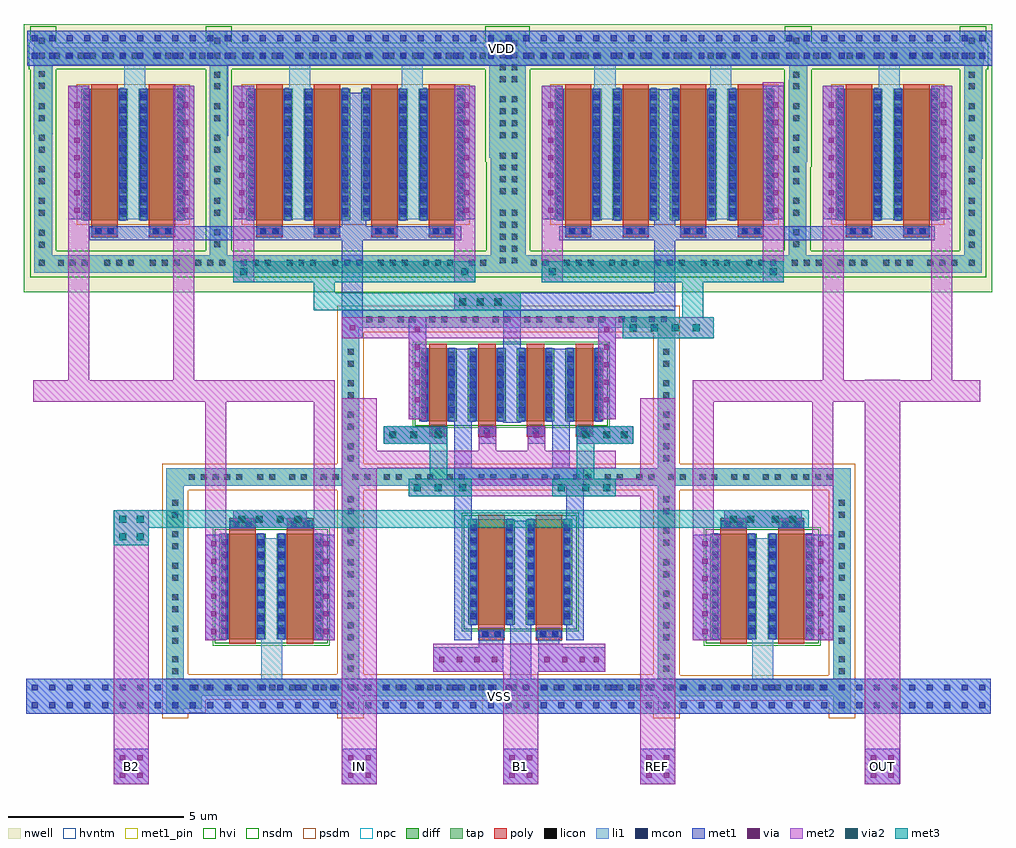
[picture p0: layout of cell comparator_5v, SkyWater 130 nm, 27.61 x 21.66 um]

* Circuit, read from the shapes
.subckt comparator_5v B1 B2 IN OUT REF VDD VSS
XM1 VSS B2 n1 VSS sky130_fd_pr__nfet_g5v0d10v5 w=3 l=0.75 m=2
XM2 n2 REF n3 VSS sky130_fd_pr__nfet_g5v0d10v5 w=2.08 l=0.5 m=2
XM3 n4 IN n2 VSS sky130_fd_pr__nfet_g5v0d10v5 w=2.08 l=0.5 m=2
XM4 VSS B1 n2 VSS sky130_fd_pr__nfet_g5v0d10v5 w=3 l=0.75 m=2
XM5 VSS B2 OUT VSS sky130_fd_pr__nfet_g5v0d10v5 w=3 l=0.75 m=2
XM6 VDD n3 n1 VDD sky130_fd_pr__pfet_g5v0d10v5 w=3.75 l=0.75 m=2
XM7 VDD n3 n4 VDD sky130_fd_pr__pfet_g5v0d10v5 w=3.75 l=0.75 m=2
XM8 n3 n3 VDD VDD sky130_fd_pr__pfet_g5v0d10v5 w=3.75 l=0.75 m=2
XM9 VDD n4 n3 VDD sky130_fd_pr__pfet_g5v0d10v5 w=3.75 l=0.75 m=2
XM10 n4 n4 VDD VDD sky130_fd_pr__pfet_g5v0d10v5 w=3.75 l=0.75 m=2
XM11 VDD n4 OUT VDD sky130_fd_pr__pfet_g5v0d10v5 w=3.75 l=0.75 m=2
.ends

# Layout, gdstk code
import gdstk
lib = gdstk.Library(unit=1e-6, precision=1e-09)
def R(c, l, rs):  # rectangles x0, y0, x1, y1
    for r in rs: c.add(gdstk.rectangle(r[:2], r[2:], *l))
def A(c, l, x, y, w, h, nx, ny, dx, dy):  # array of equal rectangles
    R(c, l, [(x+i*dx, y+j*dy, x+i*dx+w, y+j*dy+h) for i in range(nx) for j in range(ny)])
nwell = (64, 20)
diff = (65, 20)
tap = (65, 44)
poly = (66, 20)
licon = (66, 44)
li1 = (67, 20)
mcon = (67, 44)
met1_pin = (68, 16)
met1 = (68, 20)
via = (68, 44)
met2 = (69, 20)
via2 = (69, 44)
met3 = (70, 20)
hvi = (75, 20)
nsdm = (93, 44)
psdm = (94, 20)
npc = (95, 20)
hvntm = (125, 20)

sky130_fd_pr__nfet_g5v0d = lib.new_cell('sky130_fd_pr__nfet_g5v0d10v5_3ZGXMS')
R(sky130_fd_pr__nfet_g5v0d, diff, [(-1.485,-1.345,-0.155,1.655), (0.155,-1.345,1.485,1.655)])
R(sky130_fd_pr__nfet_g5v0d, poly, [(-1.195,-1.785,-0.445,1.785), (0.445,-1.785,1.195,1.785)])
A(sky130_fd_pr__nfet_g5v0d, licon, -1.425, -1.12, 0.17, 0.17, 1, 8, 0, 0.34)
A(sky130_fd_pr__nfet_g5v0d, licon, -0.385, -1.12, 0.17, 0.17, 1, 8, 0, 0.34)
A(sky130_fd_pr__nfet_g5v0d, licon, 0.215, -1.12, 0.17, 0.17, 1, 8, 0, 0.34)
A(sky130_fd_pr__nfet_g5v0d, licon, 1.255, -1.12, 0.17, 0.17, 1, 8, 0, 0.34)
R(sky130_fd_pr__nfet_g5v0d, licon, [(-1.075,-1.705,-0.905,-1.535), (-0.735,-1.705,-0.565,-1.535), (0.565,-1.705,0.735,-1.535), (0.905,-1.705,1.075,-1.535)])
R(sky130_fd_pr__nfet_g5v0d, li1, [(-1.195,-1.705,-0.445,-1.535), (0.445,-1.705,1.195,-1.535), (-1.425,-1.365,-1.255,1.675), (-0.385,-1.365,-0.215,1.675), (0.215,-1.365,0.385,1.675), (1.255,-1.365,1.425,1.675)])
A(sky130_fd_pr__nfet_g5v0d, mcon, -1.425, -1.19, 0.17, 0.17, 1, 8, 0, 0.36)
A(sky130_fd_pr__nfet_g5v0d, mcon, -0.385, -1.19, 0.17, 0.17, 1, 8, 0, 0.36)
A(sky130_fd_pr__nfet_g5v0d, mcon, 0.215, -1.19, 0.17, 0.17, 1, 8, 0, 0.36)
A(sky130_fd_pr__nfet_g5v0d, mcon, 1.255, -1.19, 0.17, 0.17, 1, 8, 0, 0.36)
R(sky130_fd_pr__nfet_g5v0d, mcon, [(-1.085,-1.705,-0.915,-1.535), (-0.725,-1.705,-0.555,-1.535), (0.555,-1.705,0.725,-1.535), (0.915,-1.705,1.085,-1.535)])
R(sky130_fd_pr__nfet_g5v0d, met1, [(-1.175,-1.735,-0.465,-1.505), (0.465,-1.735,1.175,-1.505), (-1.455,-1.345,-1.225,1.655), (-0.415,-1.345,-0.185,1.655), (0.185,-1.345,0.415,1.655), (1.225,-1.345,1.455,1.655)])
R(sky130_fd_pr__nfet_g5v0d, hvi, [(-1.67,-1.53,1.67,1.84)])
R(sky130_fd_pr__nfet_g5v0d, nsdm, [(-1.61,-1.47,1.61,1.78)])
R(sky130_fd_pr__nfet_g5v0d, npc, [(-1.175,-1.805,-0.465,-1.435), (0.465,-1.805,1.175,-1.435)])
R(sky130_fd_pr__nfet_g5v0d, hvntm, [(-1.67,-1.53,1.67,1.84)])

c_sky130_fd_pr__nfet_g5v0d = lib.new_cell('sky130_fd_pr__nfet_g5v0d10v5_P5847U')
A(c_sky130_fd_pr__nfet_g5v0d, diff, -2.625, -0.885, 1.08, 2.08, 4, 1, 1.39, 0)
A(c_sky130_fd_pr__nfet_g5v0d, poly, -2.335, -1.325, 0.5, 2.65, 4, 1, 1.39, 0)
A(c_sky130_fd_pr__nfet_g5v0d, licon, -2.17, -1.245, 0.17, 0.17, 4, 1, 1.39, 0)
A(c_sky130_fd_pr__nfet_g5v0d, licon, -2.565, -0.78, 0.17, 0.17, 1, 6, 0, 0.34)
A(c_sky130_fd_pr__nfet_g5v0d, licon, -1.775, -0.78, 0.17, 0.17, 1, 6, 0, 0.34)
A(c_sky130_fd_pr__nfet_g5v0d, licon, -1.175, -0.78, 0.17, 0.17, 1, 6, 0, 0.34)
A(c_sky130_fd_pr__nfet_g5v0d, licon, -0.385, -0.78, 0.17, 0.17, 1, 6, 0, 0.34)
A(c_sky130_fd_pr__nfet_g5v0d, licon, 0.215, -0.78, 0.17, 0.17, 1, 6, 0, 0.34)
A(c_sky130_fd_pr__nfet_g5v0d, licon, 1.005, -0.78, 0.17, 0.17, 1, 6, 0, 0.34)
A(c_sky130_fd_pr__nfet_g5v0d, licon, 1.605, -0.78, 0.17, 0.17, 1, 6, 0, 0.34)
A(c_sky130_fd_pr__nfet_g5v0d, licon, 2.395, -0.78, 0.17, 0.17, 1, 6, 0, 0.34)
A(c_sky130_fd_pr__nfet_g5v0d, li1, -2.335, -1.245, 0.5, 0.17, 4, 1, 1.39, 0)
R(c_sky130_fd_pr__nfet_g5v0d, li1, [(-2.565,-0.905,-2.395,1.215), (-1.775,-0.905,-1.605,1.215), (-1.175,-0.905,-1.005,1.215), (-0.385,-0.905,-0.215,1.215), (0.215,-0.905,0.385,1.215), (1.005,-0.905,1.175,1.215), (1.605,-0.905,1.775,1.215), (2.395,-0.905,2.565,1.215)])
A(c_sky130_fd_pr__nfet_g5v0d, mcon, -2.17, -1.245, 0.17, 0.17, 4, 1, 1.39, 0)
A(c_sky130_fd_pr__nfet_g5v0d, mcon, -2.565, -0.65, 0.17, 0.17, 1, 5, 0, 0.36)
A(c_sky130_fd_pr__nfet_g5v0d, mcon, -1.775, -0.65, 0.17, 0.17, 1, 5, 0, 0.36)
A(c_sky130_fd_pr__nfet_g5v0d, mcon, -1.175, -0.65, 0.17, 0.17, 1, 5, 0, 0.36)
A(c_sky130_fd_pr__nfet_g5v0d, mcon, -0.385, -0.65, 0.17, 0.17, 1, 5, 0, 0.36)
A(c_sky130_fd_pr__nfet_g5v0d, mcon, 0.215, -0.65, 0.17, 0.17, 1, 5, 0, 0.36)
A(c_sky130_fd_pr__nfet_g5v0d, mcon, 1.005, -0.65, 0.17, 0.17, 1, 5, 0, 0.36)
A(c_sky130_fd_pr__nfet_g5v0d, mcon, 1.605, -0.65, 0.17, 0.17, 1, 5, 0, 0.36)
A(c_sky130_fd_pr__nfet_g5v0d, mcon, 2.395, -0.65, 0.17, 0.17, 1, 5, 0, 0.36)
A(c_sky130_fd_pr__nfet_g5v0d, met1, -2.315, -1.275, 0.46, 0.23, 4, 1, 1.39, 0)
R(c_sky130_fd_pr__nfet_g5v0d, met1, [(-2.595,-0.885,-2.365,1.195), (-1.805,-0.885,-1.575,1.195), (-1.205,-0.885,-0.975,1.195), (-0.415,-0.885,-0.185,1.195), (0.185,-0.885,0.415,1.195), (0.975,-0.885,1.205,1.195), (1.575,-0.885,1.805,1.195), (2.365,-0.885,2.595,1.195)])
R(c_sky130_fd_pr__nfet_g5v0d, hvi, [(-2.81,-1.07,2.81,1.38)])
R(c_sky130_fd_pr__nfet_g5v0d, nsdm, [(-2.75,-1.01,2.75,1.32)])
A(c_sky130_fd_pr__nfet_g5v0d, npc, -2.27, -1.345, 0.37, 0.37, 4, 1, 1.39, 0)
R(c_sky130_fd_pr__nfet_g5v0d, hvntm, [(-2.81,-1.07,2.81,1.38)])

sky130_fd_pr__pfet_g5v0d = lib.new_cell('sky130_fd_pr__pfet_g5v0d10v5_SXU6V5')
R(sky130_fd_pr__pfet_g5v0d, nwell, [(-1.665,-2.195,1.665,2.365)])
R(sky130_fd_pr__pfet_g5v0d, diff, [(-1.485,-1.695,-0.155,2.055), (0.155,-1.695,1.485,2.055)])
R(sky130_fd_pr__pfet_g5v0d, poly, [(-1.195,-2.18,-0.445,2.185), (0.445,-2.18,1.195,2.185)])
A(sky130_fd_pr__pfet_g5v0d, licon, -1.425, -1.605, 0.17, 0.17, 1, 11, 0, 0.34)
A(sky130_fd_pr__pfet_g5v0d, licon, -0.385, -1.605, 0.17, 0.17, 1, 11, 0, 0.34)
A(sky130_fd_pr__pfet_g5v0d, licon, 0.215, -1.605, 0.17, 0.17, 1, 11, 0, 0.34)
A(sky130_fd_pr__pfet_g5v0d, licon, 1.255, -1.605, 0.17, 0.17, 1, 11, 0, 0.34)
R(sky130_fd_pr__pfet_g5v0d, licon, [(-1.075,-2.1,-0.905,-1.93), (-0.735,-2.1,-0.565,-1.93), (0.565,-2.1,0.735,-1.93), (0.905,-2.1,1.075,-1.93)])
R(sky130_fd_pr__pfet_g5v0d, li1, [(-1.195,-2.1,-0.445,-1.93), (0.445,-2.1,1.195,-1.93), (-1.425,-1.715,-1.255,2.075), (-0.385,-1.715,-0.215,2.075), (0.215,-1.715,0.385,2.075), (1.255,-1.715,1.425,2.075)])
A(sky130_fd_pr__pfet_g5v0d, mcon, -1.425, -1.525, 0.17, 0.17, 1, 10, 0, 0.36)
A(sky130_fd_pr__pfet_g5v0d, mcon, -0.385, -1.525, 0.17, 0.17, 1, 10, 0, 0.36)
A(sky130_fd_pr__pfet_g5v0d, mcon, 0.215, -1.525, 0.17, 0.17, 1, 10, 0, 0.36)
A(sky130_fd_pr__pfet_g5v0d, mcon, 1.255, -1.525, 0.17, 0.17, 1, 10, 0, 0.36)
R(sky130_fd_pr__pfet_g5v0d, mcon, [(-1.085,-2.1,-0.915,-1.93), (-0.725,-2.1,-0.555,-1.93), (0.555,-2.1,0.725,-1.93), (0.915,-2.1,1.085,-1.93)])
R(sky130_fd_pr__pfet_g5v0d, met1, [(-1.175,-2.13,-0.465,-1.9), (0.465,-2.13,1.175,-1.9), (-1.455,-1.695,-1.225,2.055), (-0.415,-1.695,-0.185,2.055), (0.185,-1.695,0.415,2.055), (1.225,-1.695,1.455,2.055)])
R(sky130_fd_pr__pfet_g5v0d, hvi, [(-1.665,-2.195,1.665,-1.88), (-1.67,-1.88,1.67,2.24), (-1.665,2.24,1.665,2.365)])
R(sky130_fd_pr__pfet_g5v0d, psdm, [(-1.61,-1.82,1.61,2.18)])
R(sky130_fd_pr__pfet_g5v0d, npc, [(-1.175,-2.2,-0.465,-1.83), (0.465,-2.2,1.175,-1.83)])

c_sky130_fd_pr__pfet_g5v0d = lib.new_cell('sky130_fd_pr__pfet_g5v0d10v5_S3L597')
R(c_sky130_fd_pr__pfet_g5v0d, nwell, [(-3.305,-2.195,3.305,2.365)])
A(c_sky130_fd_pr__pfet_g5v0d, diff, -3.125, -1.695, 1.33, 3.75, 4, 1, 1.64, 0)
A(c_sky130_fd_pr__pfet_g5v0d, poly, -2.835, -2.18, 0.75, 4.365, 4, 1, 1.64, 0)
A(c_sky130_fd_pr__pfet_g5v0d, licon, -3.065, -1.605, 0.17, 0.17, 1, 11, 0, 0.34)
A(c_sky130_fd_pr__pfet_g5v0d, licon, -2.025, -1.605, 0.17, 0.17, 1, 11, 0, 0.34)
A(c_sky130_fd_pr__pfet_g5v0d, licon, -1.425, -1.605, 0.17, 0.17, 1, 11, 0, 0.34)
A(c_sky130_fd_pr__pfet_g5v0d, licon, -0.385, -1.605, 0.17, 0.17, 1, 11, 0, 0.34)
A(c_sky130_fd_pr__pfet_g5v0d, licon, 0.215, -1.605, 0.17, 0.17, 1, 11, 0, 0.34)
A(c_sky130_fd_pr__pfet_g5v0d, licon, 1.255, -1.605, 0.17, 0.17, 1, 11, 0, 0.34)
A(c_sky130_fd_pr__pfet_g5v0d, licon, 1.855, -1.605, 0.17, 0.17, 1, 11, 0, 0.34)
A(c_sky130_fd_pr__pfet_g5v0d, licon, 2.895, -1.605, 0.17, 0.17, 1, 11, 0, 0.34)
R(c_sky130_fd_pr__pfet_g5v0d, licon, [(-2.715,-2.1,-2.545,-1.93), (-2.375,-2.1,-2.205,-1.93), (-1.075,-2.1,-0.905,-1.93), (-0.735,-2.1,-0.565,-1.93), (0.565,-2.1,0.735,-1.93), (0.905,-2.1,1.075,-1.93), (2.205,-2.1,2.375,-1.93), (2.545,-2.1,2.715,-1.93)])
A(c_sky130_fd_pr__pfet_g5v0d, li1, -2.835, -2.1, 0.75, 0.17, 4, 1, 1.64, 0)
R(c_sky130_fd_pr__pfet_g5v0d, li1, [(-3.065,-1.715,-2.895,2.075), (-2.025,-1.715,-1.855,2.075), (-1.425,-1.715,-1.255,2.075), (-0.385,-1.715,-0.215,2.075), (0.215,-1.715,0.385,2.075), (1.255,-1.715,1.425,2.075), (1.855,-1.715,2.025,2.075), (2.895,-1.715,3.065,2.075)])
A(c_sky130_fd_pr__pfet_g5v0d, mcon, -3.065, -1.525, 0.17, 0.17, 1, 10, 0, 0.36)
A(c_sky130_fd_pr__pfet_g5v0d, mcon, -2.025, -1.525, 0.17, 0.17, 1, 10, 0, 0.36)
A(c_sky130_fd_pr__pfet_g5v0d, mcon, -1.425, -1.525, 0.17, 0.17, 1, 10, 0, 0.36)
A(c_sky130_fd_pr__pfet_g5v0d, mcon, -0.385, -1.525, 0.17, 0.17, 1, 10, 0, 0.36)
A(c_sky130_fd_pr__pfet_g5v0d, mcon, 0.215, -1.525, 0.17, 0.17, 1, 10, 0, 0.36)
A(c_sky130_fd_pr__pfet_g5v0d, mcon, 1.255, -1.525, 0.17, 0.17, 1, 10, 0, 0.36)
A(c_sky130_fd_pr__pfet_g5v0d, mcon, 1.855, -1.525, 0.17, 0.17, 1, 10, 0, 0.36)
A(c_sky130_fd_pr__pfet_g5v0d, mcon, 2.895, -1.525, 0.17, 0.17, 1, 10, 0, 0.36)
R(c_sky130_fd_pr__pfet_g5v0d, mcon, [(-2.725,-2.1,-2.555,-1.93), (-2.365,-2.1,-2.195,-1.93), (-1.085,-2.1,-0.915,-1.93), (-0.725,-2.1,-0.555,-1.93), (0.555,-2.1,0.725,-1.93), (0.915,-2.1,1.085,-1.93), (2.195,-2.1,2.365,-1.93), (2.555,-2.1,2.725,-1.93)])
A(c_sky130_fd_pr__pfet_g5v0d, met1, -2.815, -2.13, 0.71, 0.23, 4, 1, 1.64, 0)
R(c_sky130_fd_pr__pfet_g5v0d, met1, [(-3.095,-1.695,-2.865,2.055), (-2.055,-1.695,-1.825,2.055), (-1.455,-1.695,-1.225,2.055), (-0.415,-1.695,-0.185,2.055), (0.185,-1.695,0.415,2.055), (1.225,-1.695,1.455,2.055), (1.825,-1.695,2.055,2.055), (2.865,-1.695,3.095,2.055)])
R(c_sky130_fd_pr__pfet_g5v0d, hvi, [(-3.305,-2.195,3.305,-1.88), (-3.31,-1.88,3.31,2.24), (-3.305,2.24,3.305,2.365)])
R(c_sky130_fd_pr__pfet_g5v0d, psdm, [(-3.25,-1.82,3.25,2.18)])
A(c_sky130_fd_pr__pfet_g5v0d, npc, -2.815, -2.2, 0.71, 0.37, 4, 1, 1.64, 0)

c_sky130_fd_pr__nfet_g5v0d_ = lib.new_cell('sky130_fd_pr__nfet_g5v0d10v5_KHGXMS')
R(c_sky130_fd_pr__nfet_g5v0d_, diff, [(-1.485,-1.655,-0.155,1.345), (0.155,-1.655,1.485,1.345)])
R(c_sky130_fd_pr__nfet_g5v0d_, poly, [(-1.195,-1.785,-0.445,1.785), (0.445,-1.785,1.195,1.785)])
A(c_sky130_fd_pr__nfet_g5v0d_, licon, -1.425, -1.43, 0.17, 0.17, 1, 8, 0, 0.34)
A(c_sky130_fd_pr__nfet_g5v0d_, licon, -0.385, -1.43, 0.17, 0.17, 1, 8, 0, 0.34)
A(c_sky130_fd_pr__nfet_g5v0d_, licon, 0.215, -1.43, 0.17, 0.17, 1, 8, 0, 0.34)
A(c_sky130_fd_pr__nfet_g5v0d_, licon, 1.255, -1.43, 0.17, 0.17, 1, 8, 0, 0.34)
R(c_sky130_fd_pr__nfet_g5v0d_, licon, [(-1.075,1.535,-0.905,1.705), (-0.735,1.535,-0.565,1.705), (0.565,1.535,0.735,1.705), (0.905,1.535,1.075,1.705)])
R(c_sky130_fd_pr__nfet_g5v0d_, li1, [(-1.425,-1.675,-1.255,1.365), (-0.385,-1.675,-0.215,1.365), (0.215,-1.675,0.385,1.365), (1.255,-1.675,1.425,1.365), (-1.195,1.535,-0.445,1.705), (0.445,1.535,1.195,1.705)])
A(c_sky130_fd_pr__nfet_g5v0d_, mcon, -1.425, -1.5, 0.17, 0.17, 1, 8, 0, 0.36)
A(c_sky130_fd_pr__nfet_g5v0d_, mcon, -0.385, -1.5, 0.17, 0.17, 1, 8, 0, 0.36)
A(c_sky130_fd_pr__nfet_g5v0d_, mcon, 0.215, -1.5, 0.17, 0.17, 1, 8, 0, 0.36)
A(c_sky130_fd_pr__nfet_g5v0d_, mcon, 1.255, -1.5, 0.17, 0.17, 1, 8, 0, 0.36)
R(c_sky130_fd_pr__nfet_g5v0d_, mcon, [(-1.085,1.535,-0.915,1.705), (-0.725,1.535,-0.555,1.705), (0.555,1.535,0.725,1.705), (0.915,1.535,1.085,1.705)])
R(c_sky130_fd_pr__nfet_g5v0d_, met1, [(-1.455,-1.655,-1.225,1.345), (-0.415,-1.655,-0.185,1.345), (0.185,-1.655,0.415,1.345), (1.225,-1.655,1.455,1.345), (-1.175,1.505,-0.465,1.735), (0.465,1.505,1.175,1.735)])
R(c_sky130_fd_pr__nfet_g5v0d_, hvi, [(-1.67,-1.84,1.67,1.53)])
R(c_sky130_fd_pr__nfet_g5v0d_, nsdm, [(-1.61,-1.78,1.61,1.47)])
R(c_sky130_fd_pr__nfet_g5v0d_, npc, [(-1.175,1.435,-0.465,1.805), (0.465,1.435,1.175,1.805)])
R(c_sky130_fd_pr__nfet_g5v0d_, hvntm, [(-1.67,-1.84,1.67,1.53)])

comparator_5v = lib.new_cell('comparator_5v')
R(comparator_5v, nwell, [(-22.57,-27.99,5.03,-20.34)])
R(comparator_5v, tap, [(-18.5,-40,-18,-39.85), (-13.5,-40,-13,-39.5), (-4.5,-40,-4,-39.5), (0.5,-40,1,-39.5), (-18.5,-39.85,-17.5,-39.48), (-13.5,-39.5,1,-39.48), (-18.5,-39.48,1,-39.02), (-18.5,-39.02,-4,-39), (0.5,-39.02,1,-33.5), (-18.5,-39,-18,-33.5), (-13.5,-39,-13,-33.5), (-4.5,-39,-4,-33.5), (-18.5,-33.5,1,-33), (-13.5,-33,-13,-29), (-4.5,-33,-4,-29), (-13.5,-29,-4,-28.5), (-22.26,-27.43,4.74,-26.93), (-22.26,-26.93,-21.76,-21.5), (-17.26,-26.93,-16.76,-21.5), (-9.26,-26.93,-8.26,-24.145), (-0.76,-26.93,-0.26,-24.285), (4.24,-26.93,4.74,-21.5), (-0.76,-24.285,-0.235,-21.93), (-9.295,-24.145,-8.26,-21.93), (-9.295,-21.93,-8.265,-21.5), (-0.755,-21.93,-0.235,-21.5), (-22.3,-21.5,4.8,-21), (-22.26,-21,-21.76,-20.53), (-17.26,-21,-16.76,-20.53), (-9.295,-21,-8.265,-20.53), (-0.755,-21,-0.235,-20.53), (4.24,-21,4.74,-20.53)])
A(comparator_5v, licon, -0.56, -39.335, 0.17, 0.17, 3, 1, 0.34, 0)
A(comparator_5v, licon, -17.865, -33.335, 0.17, 0.17, 5, 1, 0.34, 0)
A(comparator_5v, licon, -0.695, -33.335, 0.17, 0.17, 4, 1, 0.34, 0)
A(comparator_5v, licon, -21.59, -27.235, 0.17, 0.17, 3, 1, 0.34, 0)
A(comparator_5v, licon, -20.275, -27.235, 0.17, 0.17, 3, 1, 0.34, 0)
A(comparator_5v, licon, -18.975, -27.235, 0.17, 0.17, 3, 1, 0.34, 0)
A(comparator_5v, licon, -17.675, -27.235, 0.17, 0.17, 3, 1, 0.34, 0)
A(comparator_5v, licon, -16.375, -27.235, 0.17, 0.17, 3, 1, 0.34, 0)
A(comparator_5v, licon, -15.075, -27.235, 0.17, 0.17, 3, 1, 0.34, 0)
A(comparator_5v, licon, -13.775, -27.235, 0.17, 0.17, 3, 1, 0.34, 0)
A(comparator_5v, licon, -12.475, -27.235, 0.17, 0.17, 3, 1, 0.34, 0)
A(comparator_5v, licon, -11.175, -27.235, 0.17, 0.17, 3, 1, 0.34, 0)
A(comparator_5v, licon, -7.175, -27.235, 0.17, 0.17, 3, 1, 0.34, 0)
A(comparator_5v, licon, -5.875, -27.235, 0.17, 0.17, 3, 1, 0.34, 0)
A(comparator_5v, licon, -4.575, -27.235, 0.17, 0.17, 3, 1, 0.34, 0)
A(comparator_5v, licon, -3.275, -27.235, 0.17, 0.17, 3, 1, 0.34, 0)
A(comparator_5v, licon, -1.975, -27.235, 0.17, 0.17, 3, 1, 0.34, 0)
A(comparator_5v, licon, -0.675, -27.235, 0.17, 0.17, 3, 1, 0.34, 0)
A(comparator_5v, licon, 0.625, -27.235, 0.17, 0.17, 3, 1, 0.34, 0)
A(comparator_5v, licon, 1.925, -27.235, 0.17, 0.17, 3, 1, 0.34, 0)
A(comparator_5v, licon, 3.19, -27.235, 0.17, 0.17, 3, 1, 0.34, 0)
A(comparator_5v, licon, -9.005, -27.165, 0.17, 0.17, 1, 5, 0, 0.34)
A(comparator_5v, licon, -8.665, -27.165, 0.17, 0.17, 1, 5, 0, 0.34)
A(comparator_5v, licon, -9.005, -25.195, 0.17, 0.17, 1, 4, 0, 0.34)
A(comparator_5v, licon, -8.665, -25.195, 0.17, 0.17, 1, 4, 0, 0.34)
A(comparator_5v, licon, -9.005, -23.595, 0.17, 0.17, 1, 4, 0, 0.34)
A(comparator_5v, licon, -8.665, -23.595, 0.17, 0.17, 1, 4, 0, 0.34)
A(comparator_5v, licon, -9.005, -21.995, 0.17, 0.17, 1, 4, 0, 0.34)
A(comparator_5v, licon, -8.665, -21.995, 0.17, 0.17, 1, 4, 0, 0.34)
A(comparator_5v, licon, -21.71, -21.335, 0.17, 0.17, 4, 1, 0.34, 0)
A(comparator_5v, licon, -20.175, -21.335, 0.17, 0.17, 3, 1, 0.34, 0)
A(comparator_5v, licon, -18.875, -21.335, 0.17, 0.17, 3, 1, 0.34, 0)
A(comparator_5v, licon, -17.57, -21.335, 0.17, 0.17, 3, 1, 0.435, 0)
A(comparator_5v, licon, -16.175, -21.335, 0.17, 0.17, 3, 1, 0.34, 0)
A(comparator_5v, licon, -14.775, -21.335, 0.17, 0.17, 3, 1, 0.34, 0)
A(comparator_5v, licon, -13.475, -21.335, 0.17, 0.17, 3, 1, 0.34, 0)
A(comparator_5v, licon, -12.175, -21.335, 0.17, 0.17, 3, 1, 0.34, 0)
A(comparator_5v, licon, -10.875, -21.335, 0.17, 0.17, 3, 1, 0.34, 0)
A(comparator_5v, licon, -8.19, -21.335, 0.17, 0.17, 3, 1, 0.34, 0)
A(comparator_5v, licon, -6.975, -21.335, 0.17, 0.17, 3, 1, 0.34, 0)
A(comparator_5v, licon, -5.675, -21.335, 0.17, 0.17, 3, 1, 0.34, 0)
A(comparator_5v, licon, -4.375, -21.335, 0.17, 0.17, 3, 1, 0.34, 0)
A(comparator_5v, licon, -3.075, -21.335, 0.17, 0.17, 3, 1, 0.34, 0)
A(comparator_5v, licon, -1.2, -21.335, 0.17, 0.17, 3, 1, 0.565, 0)
R(comparator_5v, licon, [(-18.335,-39.335,-18.165,-39.165), (-17.77,-39.335,-17.6,-39.165), (-17.43,-39.335,-17.26,-39.165), (-16.805,-39.335,-16.635,-39.165), (-16.465,-39.335,-16.295,-39.165), (-15.905,-39.335,-15.735,-39.165), (-15.565,-39.335,-15.395,-39.165), (-15.005,-39.335,-14.835,-39.165), (-14.665,-39.335,-14.495,-39.165), (-14.105,-39.335,-13.935,-39.165), (-13.765,-39.335,-13.595,-39.165), (-13.205,-39.335,-13.035,-39.165), (-12.865,-39.335,-12.695,-39.165), (-12.305,-39.335,-12.135,-39.165), (-11.965,-39.335,-11.795,-39.165), (-11.405,-39.335,-11.235,-39.165), (-11.065,-39.335,-10.895,-39.165), (-10.505,-39.335,-10.335,-39.165), (-10.165,-39.335,-9.995,-39.165), (-9.605,-39.335,-9.435,-39.165), (-9.265,-39.335,-9.095,-39.165), (-8.705,-39.335,-8.535,-39.165), (-8.365,-39.335,-8.195,-39.165), (-7.805,-39.335,-7.635,-39.165), (-7.465,-39.335,-7.295,-39.165), (-6.905,-39.335,-6.735,-39.165), (-6.565,-39.335,-6.395,-39.165), (-6.005,-39.335,-5.835,-39.165), (-5.665,-39.335,-5.495,-39.165), (-5.105,-39.335,-4.935,-39.165), (-4.765,-39.335,-4.595,-39.165), (-4.205,-39.335,-4.035,-39.165), (-3.865,-39.335,-3.695,-39.165), (-3.305,-39.335,-3.135,-39.165), (-2.965,-39.335,-2.795,-39.165), (-2.405,-39.335,-2.235,-39.165), (-2.065,-39.335,-1.895,-39.165), (-1.505,-39.335,-1.335,-39.165), (-1.165,-39.335,-0.995,-39.165), (0.665,-39.335,0.835,-39.165), (-18.335,-38.87,-18.165,-38.7), (0.665,-38.87,0.835,-38.7), (-13.335,-38.805,-13.165,-38.635), (-4.335,-38.805,-4.165,-38.635), (-18.335,-38.53,-18.165,-38.36), (0.665,-38.53,0.835,-38.36), (-13.335,-38.465,-13.165,-38.295), (-4.335,-38.465,-4.165,-38.295), (-18.335,-38.005,-18.165,-37.835), (0.665,-38.005,0.835,-37.835), (-13.335,-37.905,-13.165,-37.735), (-4.335,-37.905,-4.165,-37.735), (-18.335,-37.665,-18.165,-37.495), (0.665,-37.665,0.835,-37.495), (-13.335,-37.565,-13.165,-37.395), (-4.335,-37.565,-4.165,-37.395), (-18.335,-37.105,-18.165,-36.935), (0.665,-37.105,0.835,-36.935), (-13.335,-37.005,-13.165,-36.835), (-4.335,-37.005,-4.165,-36.835), (-18.335,-36.765,-18.165,-36.595), (0.665,-36.765,0.835,-36.595), (-13.335,-36.665,-13.165,-36.495), (-4.335,-36.665,-4.165,-36.495), (-18.335,-36.205,-18.165,-36.035), (0.665,-36.205,0.835,-36.035), (-13.335,-36.105,-13.165,-35.935), (-4.335,-36.105,-4.165,-35.935), (-18.335,-35.865,-18.165,-35.695), (0.665,-35.865,0.835,-35.695), (-13.335,-35.765,-13.165,-35.595), (-4.335,-35.765,-4.165,-35.595), (-18.335,-35.305,-18.165,-35.135), (0.665,-35.305,0.835,-35.135), (-13.335,-35.205,-13.165,-35.035), (-4.335,-35.205,-4.165,-35.035), (-18.335,-34.965,-18.165,-34.795), (0.665,-34.965,0.835,-34.795), (-13.335,-34.865,-13.165,-34.695), (-4.335,-34.865,-4.165,-34.695), (-18.335,-34.405,-18.165,-34.235), (0.665,-34.405,0.835,-34.235), (-13.335,-34.305,-13.165,-34.135), (-4.335,-34.305,-4.165,-34.135), (-18.335,-34.065,-18.165,-33.895), (0.665,-34.065,0.835,-33.895), (-13.335,-33.965,-13.165,-33.795), (-4.335,-33.965,-4.165,-33.795), (-15.905,-33.335,-15.735,-33.165), (-15.565,-33.335,-15.395,-33.165), (-15.005,-33.335,-14.835,-33.165), (-14.665,-33.335,-14.495,-33.165), (-14.105,-33.335,-13.935,-33.165), (-13.765,-33.335,-13.595,-33.165), (-13.205,-33.335,-13.035,-33.165), (-12.865,-33.335,-12.695,-33.165), (-12.305,-33.335,-12.135,-33.165), (-11.965,-33.335,-11.795,-33.165), (-11.405,-33.335,-11.235,-33.165), (-11.065,-33.335,-10.895,-33.165), (-10.505,-33.335,-10.335,-33.165), (-10.165,-33.335,-9.995,-33.165), (-9.605,-33.335,-9.435,-33.165), (-9.265,-33.335,-9.095,-33.165), (-8.705,-33.335,-8.535,-33.165), (-8.365,-33.335,-8.195,-33.165), (-7.805,-33.335,-7.635,-33.165), (-7.465,-33.335,-7.295,-33.165), (-6.905,-33.335,-6.735,-33.165), (-6.565,-33.335,-6.395,-33.165), (-6.005,-33.335,-5.835,-33.165), (-5.665,-33.335,-5.495,-33.165), (-5.105,-33.335,-4.935,-33.165), (-4.765,-33.335,-4.595,-33.165), (-4.205,-33.335,-4.035,-33.165), (-3.865,-33.335,-3.695,-33.165), (-3.305,-33.335,-3.135,-33.165), (-2.965,-33.335,-2.795,-33.165), (-2.405,-33.335,-2.235,-33.165), (-2.065,-33.335,-1.895,-33.165), (-1.505,-33.335,-1.335,-33.165), (-1.165,-33.335,-0.995,-33.165), (-13.335,-32.805,-13.165,-32.635), (-4.335,-32.805,-4.165,-32.635), (-13.335,-32.465,-13.165,-32.295), (-4.335,-32.465,-4.165,-32.295), (-13.335,-31.905,-13.165,-31.735), (-4.335,-31.905,-4.165,-31.735), (-13.335,-31.565,-13.165,-31.395), (-4.335,-31.565,-4.165,-31.395), (-13.335,-31.005,-13.165,-30.835), (-4.335,-31.005,-4.165,-30.835), (-13.335,-30.665,-13.165,-30.495), (-4.335,-30.665,-4.165,-30.495), (-13.335,-30.105,-13.165,-29.935), (-4.335,-30.105,-4.165,-29.935), (-13.335,-29.765,-13.165,-29.595), (-4.335,-29.765,-4.165,-29.595), (-12.805,-28.835,-12.635,-28.665), (-12.465,-28.835,-12.295,-28.665), (-11.905,-28.835,-11.735,-28.665), (-11.565,-28.835,-11.395,-28.665), (-11.005,-28.835,-10.835,-28.665), (-10.665,-28.835,-10.495,-28.665), (-10.105,-28.835,-9.935,-28.665), (-9.765,-28.835,-9.595,-28.665), (-9.205,-28.835,-9.035,-28.665), (-8.865,-28.835,-8.695,-28.665), (-8.305,-28.835,-8.135,-28.665), (-7.965,-28.835,-7.795,-28.665), (-7.405,-28.835,-7.235,-28.665), (-7.065,-28.835,-6.895,-28.665), (-6.505,-28.835,-6.335,-28.665), (-6.165,-28.835,-5.995,-28.665), (-5.605,-28.835,-5.435,-28.665), (-5.265,-28.835,-5.095,-28.665), (-4.755,-28.835,-4.585,-28.665), (-4.415,-28.835,-4.245,-28.665), (-22.135,-27.235,-21.965,-27.065), (-9.89,-27.235,-9.72,-27.065), (-9.55,-27.235,-9.38,-27.065), (-8.12,-27.235,-7.95,-27.065), (-7.78,-27.235,-7.61,-27.065), (4.365,-27.235,4.535,-27.065), (-22.135,-26.72,-21.965,-26.55), (4.365,-26.72,4.535,-26.55), (-17.135,-26.705,-16.965,-26.535), (-0.635,-26.705,-0.465,-26.535), (-22.135,-26.38,-21.965,-26.21), (4.365,-26.38,4.535,-26.21), (-17.135,-26.365,-16.965,-26.195), (-0.635,-26.365,-0.465,-26.195), (-22.135,-25.805,-21.965,-25.635), (-17.135,-25.805,-16.965,-25.635), (-0.635,-25.805,-0.465,-25.635), (4.365,-25.805,4.535,-25.635), (-22.135,-25.465,-21.965,-25.295), (-17.135,-25.465,-16.965,-25.295), (-0.635,-25.465,-0.465,-25.295), (4.365,-25.465,4.535,-25.295), (-22.135,-24.905,-21.965,-24.735), (-17.135,-24.905,-16.965,-24.735), (-0.635,-24.905,-0.465,-24.735), (4.365,-24.905,4.535,-24.735), (-22.135,-24.565,-21.965,-24.395), (-17.135,-24.565,-16.965,-24.395), (-0.635,-24.565,-0.465,-24.395), (4.365,-24.565,4.535,-24.395), (-22.135,-24.005,-21.965,-23.835), (-17.135,-24.005,-16.965,-23.835), (-0.635,-24.005,-0.465,-23.835), (4.365,-24.005,4.535,-23.835), (-22.135,-23.665,-21.965,-23.495), (-17.135,-23.665,-16.965,-23.495), (-0.635,-23.665,-0.465,-23.495), (4.365,-23.665,4.535,-23.495), (-22.135,-23.105,-21.965,-22.935), (-17.135,-23.105,-16.965,-22.935), (-0.635,-23.105,-0.465,-22.935), (4.365,-23.105,4.535,-22.935), (-22.135,-22.765,-21.965,-22.595), (-17.135,-22.765,-16.965,-22.595), (-0.635,-22.765,-0.465,-22.595), (4.365,-22.765,4.535,-22.595), (-17.135,-22.205,-16.965,-22.035), (-0.635,-22.205,-0.465,-22.035), (4.365,-22.205,4.535,-22.035), (-22.135,-22.19,-21.965,-22.02), (-17.135,-21.865,-16.965,-21.695), (-0.635,-21.865,-0.465,-21.695), (4.365,-21.865,4.535,-21.695), (-22.135,-21.85,-21.965,-21.68), (-22.135,-21.335,-21.965,-21.165), (-9.57,-21.335,-9.4,-21.165), (-1.54,-21.335,-1.37,-21.165), (0.27,-21.335,0.44,-21.165), (0.895,-21.335,1.065,-21.165), (1.235,-21.335,1.405,-21.165), (1.795,-21.335,1.965,-21.165), (2.135,-21.335,2.305,-21.165), (2.695,-21.335,2.865,-21.165), (3.035,-21.335,3.205,-21.165), (3.56,-21.335,3.73,-21.165), (3.9,-21.335,4.07,-21.165), (4.365,-21.335,4.535,-21.165), (-22.135,-20.9,-21.965,-20.73), (-17.135,-20.9,-16.965,-20.73), (-0.635,-20.9,-0.465,-20.73), (4.365,-20.9,4.535,-20.73)])
R(comparator_5v, li1, [(-22.5,-40,5,-39), (-18.5,-39,-18,-33.5), (-15.8,-39,-15.2,-35), (-13.5,-39,-13,-33.5), (-4.5,-39,-4,-33.5), (-1.8,-39,-1.2,-35), (0.5,-39,1,-33.5), (-18.5,-33.5,1,-33), (-13.5,-33,-13,-29), (-4.5,-33,-4,-29), (-13.5,-29,-4,-28.5), (-22.26,-27.43,4.74,-26.93), (-22.26,-26.93,-21.76,-23.48), (-17.26,-26.93,-16.76,-23.535), (-9.26,-26.93,-8.26,-24.145), (-0.76,-26.93,-0.26,-24.285), (4.24,-26.93,4.74,-24.175), (-19.7,-25.9,-19.1,-21.53), (-15,-25.9,-14.4,-21.53), (-11.8,-25.9,-11.2,-21.53), (-6.3,-25.9,-5.7,-21.53), (-3,-25.9,-2.4,-21.53), (1.8,-25.9,2.4,-21.53), (-0.76,-24.285,-0.235,-21.93), (4.24,-24.175,4.76,-21.53), (-9.295,-24.145,-8.26,-21.93), (-17.27,-23.535,-16.74,-21.53), (-22.275,-23.48,-21.745,-21.53), (-9.295,-21.93,-8.265,-21.53), (-0.755,-21.93,-0.235,-21.53), (-22.46,-21.53,5.04,-20.53)])
A(comparator_5v, mcon, -22.335, -39.835, 0.17, 0.17, 55, 2, 0.5, 0.5)
A(comparator_5v, mcon, -22.335, -21.335, 0.17, 0.17, 55, 2, 0.5, 0.5)
R(comparator_5v, met1_pin, [(-20,-42,-19,-41), (-13.5,-42,-12.5,-41), (-8.9,-42,-7.9,-41), (-5,-42,-4,-41), (1.4,-42,2.4,-41), (-9.5,-40,-8.5,-39), (-9.46,-21.53,-8.46,-20.53)])
R(comparator_5v, met1, [(-20,-42,-19,-41), (-13.5,-42,-12.5,-41), (-8.9,-42,-7.9,-41), (-5,-42,-4,-41), (1.4,-42,2.4,-41), (-22.5,-40,5,-39), (-8.7,-39,-8.1,-34.5), (-10.9,-38.8,-8.9,-38.1), (-7.9,-38.8,-6,-38.1), (-9.6,-38.1,-8.9,-37.6), (-7.9,-38.1,-7.2,-38), (-7.9,-38,-7.3,-37.6), (-17.4,-37.9,-16.8,-34.9), (-14.3,-37.9,-13.7,-34.9), (-10.3,-37.9,-9.8,-33.5), (-7.1,-37.9,-6.6,-33.5), (-3.5,-37.9,-2.7,-34.9), (-0.3,-37.9,0.5,-34.9), (-16.6,-34.7,-14.5,-34.2), (-2.6,-34.7,-0.4,-34.2), (-10.3,-33.5,-6.6,-33), (-10.3,-33,-9.8,-29.6), (-7.5,-33,-7,-29.6), (-12.3,-32.3,-10.5,-31.8), (-9.6,-32.3,-9.1,-31.8), (-8.2,-32.3,-7.7,-31.8), (-6.8,-32.3,-5.2,-31.8), (-8.9,-31.7,-8.4,-28.5), (-11.6,-31.6,-11.1,-28.7), (-6.2,-31.6,-5.7,-28.7), (-13.5,-29.3,-12.9,-26.5), (-10.3,-28.5,-4,-28), (-4.6,-28,-4,-26.5), (-20.7,-26.5,-10.1,-26.1), (-7.3,-26.5,3.4,-26.1), (-13.5,-26.1,-12.8,-23.8), (-4.6,-26.1,-4,-22.2), (-21.3,-25.9,-20.7,-22.1), (-18.3,-25.9,-17.7,-22.1), (-16.6,-25.9,-16,-22.1), (-10.3,-25.9,-9.7,-22.1), (-7.8,-25.9,-7.2,-22.1), (-1.5,-25.9,-0.9,-22.1), (0.2,-25.9,0.8,-22.1), (3.3,-25.9,3.9,-22.1), (-13.4,-23.8,-12.8,-22.3), (-22.46,-21.53,5.04,-20.53)])
A(comparator_5v, via, -10.725, -38.525, 0.15, 0.15, 4, 1, 0.5, 0)
A(comparator_5v, via, -7.725, -38.525, 0.15, 0.15, 3, 1, 0.5, 0)
A(comparator_5v, via, -17.225, -37.725, 0.15, 0.15, 1, 6, 0, 0.5)
A(comparator_5v, via, -14.025, -37.725, 0.15, 0.15, 1, 6, 0, 0.5)
A(comparator_5v, via, -3.225, -37.725, 0.15, 0.15, 1, 6, 0, 0.5)
A(comparator_5v, via, 0.075, -37.725, 0.15, 0.15, 1, 6, 0, 0.5)
A(comparator_5v, via, -10.825, -32.125, 0.15, 0.15, 4, 1, 1.4, 0)
A(comparator_5v, via, -11.425, -31.125, 0.15, 0.15, 1, 5, 0, 0.5)
A(comparator_5v, via, -6.025, -31.125, 0.15, 0.15, 1, 5, 0, 0.5)
A(comparator_5v, via, -10.125, -28.325, 0.15, 0.15, 3, 1, 0.5, 0)
A(comparator_5v, via, -21.125, -25.725, 0.15, 0.15, 1, 7, 0, 0.5)
A(comparator_5v, via, -18.025, -25.725, 0.15, 0.15, 1, 7, 0, 0.5)
A(comparator_5v, via, -16.425, -25.725, 0.15, 0.15, 1, 7, 0, 0.5)
A(comparator_5v, via, -10.025, -25.725, 0.15, 0.15, 1, 7, 0, 0.5)
A(comparator_5v, via, -7.625, -25.725, 0.15, 0.15, 1, 7, 0, 0.5)
A(comparator_5v, via, -1.225, -25.725, 0.15, 0.15, 1, 7, 0, 0.5)
A(comparator_5v, via, 0.375, -25.725, 0.15, 0.15, 1, 7, 0, 0.5)
A(comparator_5v, via, 3.575, -25.725, 0.15, 0.15, 1, 7, 0, 0.5)
R(comparator_5v, via, [(-19.825,-41.825,-19.675,-41.675), (-19.325,-41.825,-19.175,-41.675), (-13.325,-41.825,-13.175,-41.675), (-12.825,-41.825,-12.675,-41.675), (-8.725,-41.825,-8.575,-41.675), (-8.225,-41.825,-8.075,-41.675), (-4.825,-41.825,-4.675,-41.675), (-4.325,-41.825,-4.175,-41.675), (1.575,-41.825,1.725,-41.675), (2.075,-41.825,2.225,-41.675), (-19.825,-41.325,-19.675,-41.175), (-19.325,-41.325,-19.175,-41.175), (-13.325,-41.325,-13.175,-41.175), (-12.825,-41.325,-12.675,-41.175), (-8.725,-41.325,-8.575,-41.175), (-8.225,-41.325,-8.075,-41.175), (-4.825,-41.325,-4.675,-41.175), (-4.325,-41.325,-4.175,-41.175), (1.575,-41.325,1.725,-41.175), (2.075,-41.325,2.225,-41.175), (-6.325,-38.525,-6.175,-38.375), (-16.425,-34.525,-16.275,-34.375), (-15.925,-34.525,-15.775,-34.375), (-15.325,-34.525,-15.175,-34.375), (-14.825,-34.525,-14.675,-34.375), (-2.425,-34.525,-2.275,-34.375), (-1.925,-34.525,-1.775,-34.375), (-1.225,-34.525,-1.075,-34.375), (-0.725,-34.525,-0.575,-34.375), (-12.125,-32.125,-11.975,-31.975), (-11.525,-32.125,-11.375,-31.975), (-6.025,-32.125,-5.875,-31.975), (-5.525,-32.125,-5.375,-31.975), (-13.275,-29.075,-13.125,-28.925)])
R(comparator_5v, met2, [(-20,-42,-19,-34.2), (-13.5,-42,-12.5,-33), (-8.9,-42,-7.9,-38.8), (-5,-42,-4,-33.8), (1.4,-42,2.4,-41.995), (1.4,-41.995,2.415,-31.1), (-10.9,-38.8,-6,-38), (-17.4,-37.9,-16.8,-31.1), (-14.3,-37.9,-13.7,-31.1), (-3.5,-37.9,-2.7,-34.9), (-0.3,-37.9,0.5,-34.9), (-3.5,-34.9,-2.9,-31.1), (-0.1,-34.9,0.5,-31.1), (-16.6,-34.7,-14.5,-34.2), (-2.6,-34.7,-0.4,-34.2), (-11.6,-33.8,-4,-33.3), (-5,-33.3,-4,-31), (-13.5,-33,-5.7,-32.5), (-13.5,-32.5,-12.5,-31), (-9.6,-32.5,-9.1,-31.8), (-8.2,-32.5,-7.7,-31.8), (-12.3,-32.3,-10.5,-31.8), (-6.8,-32.3,-5.2,-31.8), (-11.6,-31.6,-11.1,-29.3), (-6.2,-31.6,-5.7,-29.3), (-22.3,-31.1,-13.7,-30.5), (-3.5,-31.1,4.7,-30.5), (-21.3,-30.5,-20.7,-22.1), (-18.3,-30.5,-17.7,-22.1), (0.2,-30.5,0.8,-22.1), (1.4,-30.5,2.415,-30.485), (3.3,-30.5,3.9,-22.1), (-13.5,-29.3,-2.9,-28.7), (-10.3,-28.5,-8.4,-28), (-16.6,-27.7,-16,-22.1), (-10.3,-27.7,-9.7,-22.1), (-7.8,-27.7,-7.2,-22.1), (-1.5,-27.7,-0.9,-22)])
A(comparator_5v, via2, -5.3, -29.1, 0.2, 0.2, 4, 1, 0.6, 0)
A(comparator_5v, via2, -10.15, -28.35, 0.2, 0.2, 3, 1, 0.5, 0)
R(comparator_5v, via2, [(-19.85,-35.05,-19.65,-34.85), (-19.35,-35.05,-19.15,-34.85), (-19.85,-34.55,-19.65,-34.35), (-19.35,-34.55,-19.15,-34.35), (-16.45,-34.55,-16.25,-34.35), (-15.95,-34.55,-15.75,-34.35), (-15.35,-34.55,-15.15,-34.35), (-14.85,-34.55,-14.65,-34.35), (-2.45,-34.55,-2.25,-34.35), (-1.95,-34.55,-1.75,-34.35), (-1.25,-34.55,-1.05,-34.35), (-0.75,-34.55,-0.55,-34.35), (-11.45,-33.65,-11.25,-33.45), (-10.85,-33.65,-10.65,-33.45), (-10.15,-33.65,-9.95,-33.45), (-7.35,-33.65,-7.15,-33.45), (-6.65,-33.65,-6.45,-33.45), (-6.05,-33.65,-5.85,-33.45), (-12.15,-32.15,-11.95,-31.95), (-11.55,-32.15,-11.35,-31.95), (-10.85,-32.15,-10.65,-31.95), (-6.65,-32.15,-6.45,-31.95), (-6.05,-32.15,-5.85,-31.95), (-5.55,-32.15,-5.35,-31.95), (-16.4,-27.5,-16.2,-27.3), (-10.1,-27.5,-9.9,-27.3), (-7.6,-27.5,-7.4,-27.3), (-1.3,-27.5,-1.1,-27.3)])
R(comparator_5v, met3, [(-20,-35.2,-19,-34.7), (-20,-34.7,-0.2,-34.2), (-11.6,-33.8,-9.8,-33.3), (-7.5,-33.8,-5.7,-33.3), (-11,-33.3,-10.5,-32.3), (-6.8,-33.3,-6.3,-32.3), (-12.3,-32.3,-10.5,-31.8), (-6.8,-32.3,-5.2,-31.8), (-5.5,-29.3,-2.9,-28.7), (-3.8,-28.7,-3.2,-27.7), (-14.3,-28.5,-8.4,-28), (-14.3,-28,-13.7,-27.7), (-16.6,-27.7,-9.7,-27.1), (-7.8,-27.7,-0.9,-27.1)])
R(comparator_5v, hvi, [(-22.57,-27.99,5.03,-26.43), (-22.57,-26.43,-21.11,-26.115), (-17.78,-26.43,-16.41,-26.115), (-9.8,-26.43,-7.61,-26.115), (-1,-26.43,0.39,-26.115), (3.72,-26.43,5.03,-26.115), (-22.57,-26.115,-21.115,-21.995), (-17.775,-26.115,-16.415,-21.995), (-9.795,-26.115,-7.615,-21.995), (-0.995,-26.115,0.385,-21.995), (3.725,-26.115,5.03,-21.995), (-22.57,-21.995,-21.11,-21.87), (-17.78,-21.995,-16.41,-21.87), (-9.8,-21.995,-7.61,-21.87), (-1,-21.995,0.39,-21.87), (3.72,-21.995,5.03,-21.87), (-22.57,-21.87,5.03,-20.34)])
R(comparator_5v, nsdm, [(-22.385,-27.555,4.865,-26.805), (-22.385,-26.805,-21.635,-21.625), (-17.385,-26.805,-16.635,-21.625), (-9.385,-26.805,-8.135,-24.27), (-0.885,-26.805,-0.135,-24.41), (4.115,-26.805,4.865,-21.625), (-0.885,-24.41,-0.11,-21.625), (-9.42,-24.27,-8.135,-21.625), (-22.425,-21.625,4.925,-20.875), (-22.385,-20.875,-21.635,-20.405), (-17.385,-20.875,-16.635,-20.405), (-9.42,-20.875,-8.14,-20.405), (-0.88,-20.875,-0.11,-20.405), (4.115,-20.875,4.865,-20.405)])
R(comparator_5v, psdm, [(-18.625,-40.125,-17.875,-39.975), (-13.625,-40.125,-12.875,-39.625), (-4.625,-40.125,-3.875,-39.625), (0.375,-40.125,1.125,-39.625), (-18.625,-39.975,-17.375,-39.605), (-13.625,-39.625,1.125,-39.605), (-18.625,-39.605,1.125,-38.895), (-18.625,-38.895,-3.875,-38.875), (0.375,-38.895,1.125,-33.625), (-18.625,-38.875,-17.875,-33.625), (-13.625,-38.875,-12.875,-33.625), (-4.625,-38.875,-3.875,-33.625), (-18.625,-33.625,1.125,-32.875), (-13.625,-32.875,-12.875,-29.125), (-4.625,-32.875,-3.875,-29.125), (-13.625,-29.125,-3.875,-28.375)])
comparator_5v.add(gdstk.Reference(sky130_fd_pr__nfet_g5v0d, (-8.415,-36.115)))
comparator_5v.add(gdstk.Reference(c_sky130_fd_pr__nfet_g5v0d, (-8.675,-30.775)))
comparator_5v.add(gdstk.Reference(sky130_fd_pr__pfet_g5v0d, (-19.445,-24.235)))
comparator_5v.add(gdstk.Reference(sky130_fd_pr__pfet_g5v0d, (2.055,-24.235)))
comparator_5v.add(gdstk.Reference(c_sky130_fd_pr__pfet_g5v0d, (-13.105,-24.235)))
comparator_5v.add(gdstk.Reference(c_sky130_fd_pr__pfet_g5v0d, (-4.305,-24.235)))
comparator_5v.add(gdstk.Reference(c_sky130_fd_pr__nfet_g5v0d_, (-1.515,-36.215)))
comparator_5v.add(gdstk.Reference(c_sky130_fd_pr__nfet_g5v0d_, (-15.515,-36.215)))
comparator_5v.add(gdstk.Label('VDD', (-8.96,-21.03), layer=68, texttype=5))
comparator_5v.add(gdstk.Label('REF', (-4.5,-41.5), layer=68, texttype=5))
comparator_5v.add(gdstk.Label('IN', (-13,-41.5), layer=68, texttype=5))
comparator_5v.add(gdstk.Label('OUT', (1.9,-41.5), layer=68, texttype=5))
comparator_5v.add(gdstk.Label('B1', (-8.4,-41.5), layer=68, texttype=5))
comparator_5v.add(gdstk.Label('B2', (-19.5,-41.5), layer=68, texttype=5))
comparator_5v.add(gdstk.Label('VSS', (-9,-39.5), layer=68, texttype=5))

lib.write_gds('comparator_5v.gds')
